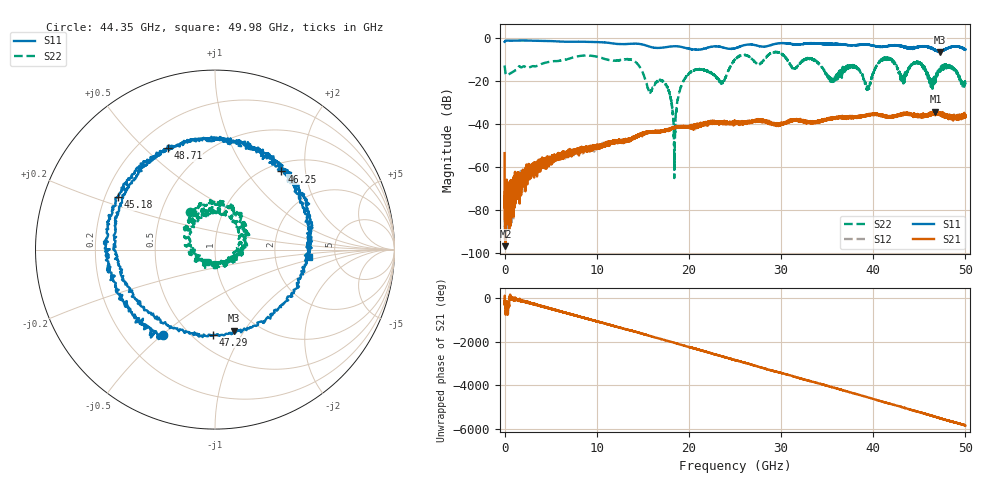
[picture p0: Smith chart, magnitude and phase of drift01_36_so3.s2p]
!Created with skrf (http://scikit-rf.org).
# Hz S RI R 50.0
!freq ReS11 ImS11 ReS21 ImS21 ReS12 ImS12 ReS22 ImS22
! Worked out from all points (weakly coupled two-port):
!   10001 points, 300 kHz to 50 GHz, reference 50 ohm
!   highest |S21| = -34.47 dB at 46.75 GHz (marker M1); lowest = -97.0 dB at 85.3 MHz (marker M2)
!   lowest |S11| = -6.7 dB at 47.2 GHz (marker M3), VSWR 2.73, Z = 39 - j45 ohm
!   |S11| at or under -10 dB: nowhere
!   |S22| runs from -65.3 to -6.7 dB; largest |S21 - S12| = 0.004
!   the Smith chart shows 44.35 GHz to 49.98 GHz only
!   S11 on the Smith chart (normalised r, x): 44.35 GHz: 0.37, -0.50; 45.18 GHz: 0.25, +0.24; 46.25 GHz: 1.15, +1.49; 47.29 GHz: 0.62, -0.76; 48.71 GHz: 0.32, +0.59; 49.98 GHz: 3.16, -0.35
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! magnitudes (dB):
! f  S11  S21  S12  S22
! 300 kHz  -2.1  -53.7  -66.5  -13.0
! 85.3 MHz  -1.5  -97.0  -75.1  -16.3
! 8.335 GHz  -1.9  -52.4  -52.3  -8.5
! 16.67 GHz  -4.8  -43.8  -43.6  -19.9
! 17.74 GHz  -4.3  -42.5  -43.1  -24.0
! 18.44 GHz  -4.1  -41.8  -41.9  -53.9
! 19.91 GHz  -5.1  -41.3  -41.6  -17.1
! 23.6 GHz  -4.5  -39.4  -39.7  -20.5
! 25 GHz  -5.0  -39.8  -39.4  -10.3
! 33.34 GHz  -2.6  -39.5  -39.3  -9.9
! 39.44 GHz  -3.4  -36.0  -36.1  -24.6
! 41.67 GHz  -3.9  -36.7  -36.7  -9.7
! 43.18 GHz  -4.2  -35.4  -36.0  -18.6
! 44.35 GHz  -5.1  -37.0  -36.0  -12.1
! 45.18 GHz  -4.2  -36.5  -36.3  -12.4
! 46.25 GHz  -4.9  -36.4  -35.6  -22.5
! 46.75 GHz  -6.1  -34.5  -35.2  -20.8
! 47.2 GHz  -6.7  -35.8  -35.1  -14.6
! 47.29 GHz  -6.5  -35.2  -35.9  -15.6
! 48.71 GHz  -4.1  -37.4  -37.5  -14.2
! 49.98 GHz  -5.6  -35.8  -36.7  -21.4
! 50 GHz  -5.5  -36.7  -36.6  -21.9
